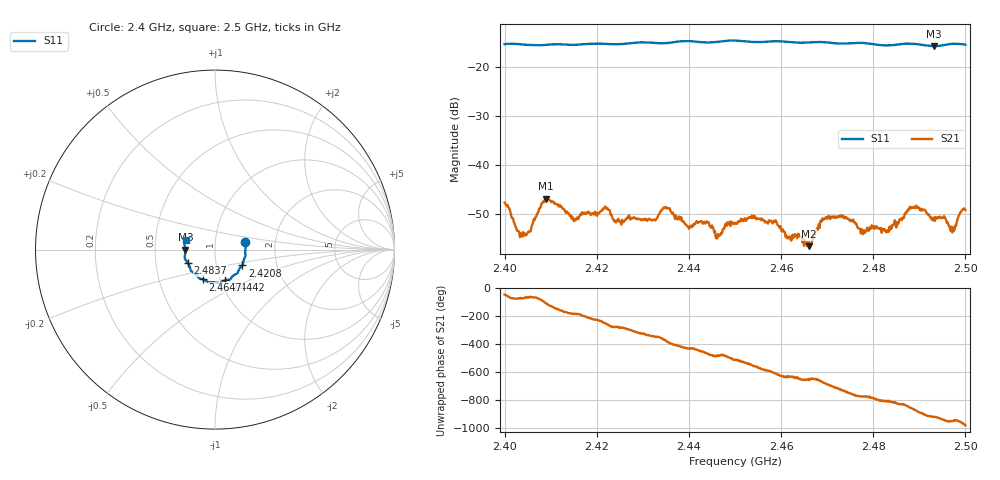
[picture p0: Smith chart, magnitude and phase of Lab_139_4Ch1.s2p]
# Hz S RI R 50
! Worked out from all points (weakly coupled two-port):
!   601 points, 2.4 GHz to 2.5 GHz, reference 50 ohm
!   highest |S21| = -46.90 dB at 2.409 GHz (marker M1); lowest = -56.6 dB at 2.466 GHz (marker M2)
!   lowest |S11| = -15.6 dB at 2.4932 GHz (marker M3), VSWR 1.40, Z = 35.8 - j0.0922 ohm
!   |S11| at or under -10 dB: start of sweep to end of sweep
!   S12 and S22 are empty: the file has one direction only
!   S11 on the Smith chart (normalised r, x): 2.4 GHz: 1.40, +0.12; 2.4208 GHz: 1.33, -0.24; 2.4442 GHz: 1.05, -0.37; 2.4647 GHz: 0.83, -0.29; 2.4837 GHz: 0.73, -0.11; 2.5 GHz: 0.72, +0.08
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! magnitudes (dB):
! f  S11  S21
! 2.4 GHz  -15.2  -47.7
! 2.4042 GHz  -15.3  -54.5
! 2.409 GHz  -15.4  -46.9
! 2.4167 GHz  -15.3  -50.2
! 2.4208 GHz  -15.1  -49.5
! 2.4333 GHz  -15.0  -50.3
! 2.4353 GHz  -15.0  -48.9
! 2.4397 GHz  -14.6  -52.5
! 2.4442 GHz  -14.9  -51.8
! 2.4463 GHz  -14.7  -54.1
! 2.45 GHz  -14.5  -51.9
! 2.4583 GHz  -14.6  -51.8
! 2.4647 GHz  -14.9  -55.9
! 2.466 GHz  -14.9  -56.6
! 2.4667 GHz  -14.8  -55.8
! 2.47 GHz  -14.9  -51.0
! 2.4833 GHz  -15.5  -53.7
! 2.4837 GHz  -15.5  -53.3
! 2.4885 GHz  -15.1  -48.8
! 2.4932 GHz  -15.6  -50.8
! 2.4972 GHz  -15.2  -53.8
! 2.5 GHz  -15.3  -49.2
